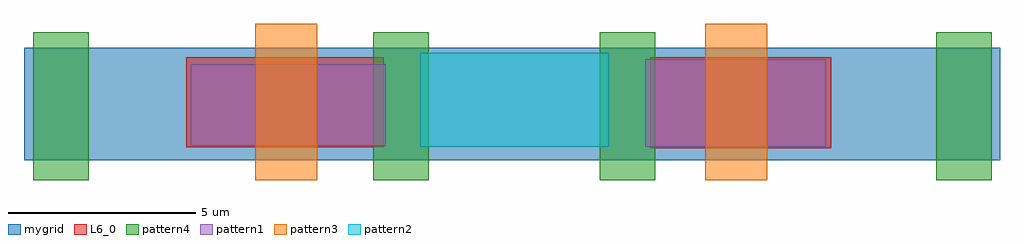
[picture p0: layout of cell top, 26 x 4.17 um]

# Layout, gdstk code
import gdstk
lib = gdstk.Library(unit=1e-6, precision=1e-10)
def R(c, l, rs):  # rectangles x0, y0, x1, y1
    for r in rs: c.add(gdstk.rectangle(r[:2], r[2:], *l))
def A(c, l, x, y, w, h, nx, ny, dx, dy):  # array of equal rectangles
    R(c, l, [(x+i*dx, y+j*dy, x+i*dx+w, y+j*dy+h) for i in range(nx) for j in range(ny)])
mygrid = (1, 0)
pattern1 = (2, 0)
pattern2 = (3, 0)
pattern3 = (4, 0)
pattern4 = (5, 0)
L6_0 = (6, 0)

top = lib.new_cell('top')
A(top, mygrid, -0.571, -0.512, 1, 1, 26, 3, 1, 1)
R(top, pattern1, [(15.985,-0.15,20.781,2.173), (3.871,-0.125,9.067,2.048)])
R(top, pattern2, [(9.991,-0.15,15.011,2.348)])
R(top, pattern3, [(5.595,-1.049,7.243,3.122), (17.576,-1.049,19.224,3.122)])
R(top, pattern4, [(-0.318,-1.042,1.158,2.894), (8.737,-1.042,10.213,2.894), (14.766,-1.042,16.242,2.894), (23.732,-1.042,25.208,2.894)])
R(top, L6_0, [(16.11,-0.2,20.931,2.223), (3.747,-0.175,9.017,2.223)])

lib.write_gds('top.gds')
